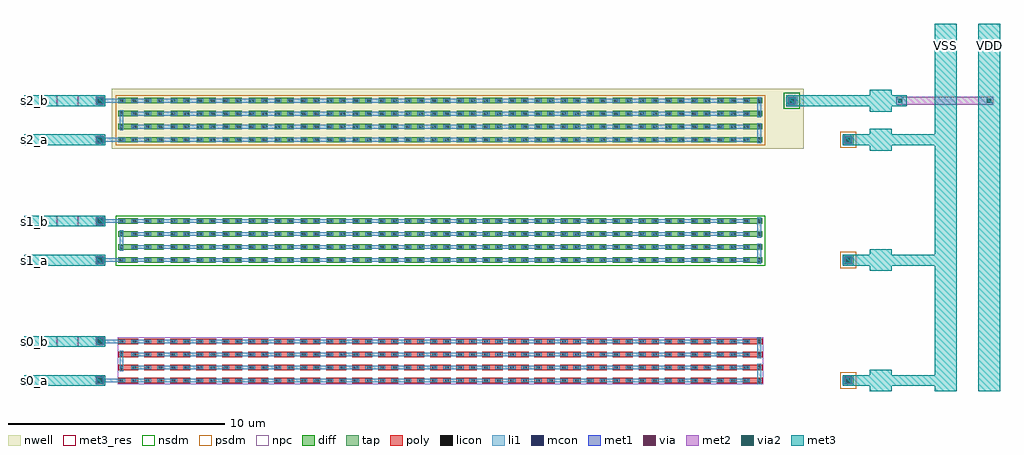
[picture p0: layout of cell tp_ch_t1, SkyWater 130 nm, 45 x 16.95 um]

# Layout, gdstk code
import gdstk
lib = gdstk.Library(unit=1e-6, precision=1e-09)
def R(c, l, rs):  # rectangles x0, y0, x1, y1
    for r in rs: c.add(gdstk.rectangle(r[:2], r[2:], *l))
def A(c, l, x, y, w, h, nx, ny, dx, dy):  # array of equal rectangles
    R(c, l, [(x+i*dx, y+j*dy, x+i*dx+w, y+j*dy+h) for i in range(nx) for j in range(ny)])
nwell = (64, 20)
diff = (65, 20)
tap = (65, 44)
poly = (66, 20)
licon = (66, 44)
li1 = (67, 20)
mcon = (67, 44)
met1 = (68, 20)
via = (68, 44)
met2 = (69, 20)
via2 = (69, 44)
met3_res = (70, 13)
met3 = (70, 20)
nsdm = (93, 44)
psdm = (94, 20)
npc = (95, 20)

tp_ch_poly = lib.new_cell('tp_ch_poly')
R(tp_ch_poly, tap, [(37.75,0.25,38.25,0.75)])
A(tp_ch_poly, poly, 4.335, 0.365, 0.93, 0.27, 25, 4, 1.2, 0.6)
A(tp_ch_poly, licon, 4.415, 0.415, 0.17, 0.17, 50, 4, 0.6, 0.6)
R(tp_ch_poly, licon, [(37.915,0.415,38.085,0.585)])
A(tp_ch_poly, li1, 4.935, 0.415, 0.93, 0.17, 24, 4, 1.2, 0.6)
R(tp_ch_poly, li1, [(37.825,0.325,38.175,0.675), (33.815,0.335,33.985,1.265), (3.375,0.375,3.625,0.625), (37.875,0.375,38.125,0.625), (3.5,0.415,4.665,0.585), (4.415,0.935,4.585,1.865), (33.815,1.535,33.985,2.465), (3.375,2.175,3.625,2.425), (3.5,2.215,4.665,2.385)])
R(tp_ch_poly, mcon, [(3.415,0.415,3.585,0.585), (37.915,0.415,38.085,0.585), (3.415,2.215,3.585,2.385)])
R(tp_ch_poly, met1, [(3.34,0.34,3.66,0.66), (37.84,0.34,38.16,0.66), (3.35,0.35,3.65,0.65), (37.85,0.35,38.15,0.65), (3.34,2.14,3.66,2.46), (3.35,2.15,3.65,2.45)])
R(tp_ch_poly, via, [(3.425,0.425,3.575,0.575), (37.925,0.425,38.075,0.575), (3.425,2.225,3.575,2.375)])
R(tp_ch_poly, met2, [(3.315,0.315,3.685,0.685), (37.815,0.315,38.185,0.685), (3.34,0.34,3.66,0.66), (37.84,0.34,38.16,0.66), (3.315,2.115,3.685,2.485), (3.34,2.14,3.66,2.46)])
R(tp_ch_poly, via2, [(3.4,0.4,3.6,0.6), (37.9,0.4,38.1,0.6), (3.4,2.2,3.6,2.4)])
R(tp_ch_poly, met3_res, [(1.5,2.05,2.5,2.55)])
R(tp_ch_poly, met3, [(39,0,40,1), (0,0.25,3.75,0.75), (0,0.25,1,0.75), (3.25,0.25,3.75,0.75), (37.75,0.25,38.25,0.75), (37.75,0.25,39,0.75), (0,2.05,3.75,2.55), (0,2.05,1,2.55), (3.25,2.05,3.75,2.55)])
R(tp_ch_poly, psdm, [(37.625,0.125,38.375,0.875)])
R(tp_ch_poly, npc, [(4.315,0.315,34.085,2.485)])

tp_ch_ndiff = lib.new_cell('tp_ch_ndiff')
A(tp_ch_ndiff, diff, 4.355, 0.375, 0.89, 0.25, 25, 4, 1.2, 0.6)
R(tp_ch_ndiff, tap, [(37.75,0.25,38.25,0.75)])
A(tp_ch_ndiff, licon, 4.415, 0.415, 0.17, 0.17, 50, 4, 0.6, 0.6)
R(tp_ch_ndiff, licon, [(37.915,0.415,38.085,0.585)])
A(tp_ch_ndiff, li1, 4.935, 0.415, 0.93, 0.17, 24, 4, 1.2, 0.6)
R(tp_ch_ndiff, li1, [(37.825,0.325,38.175,0.675), (33.815,0.335,33.985,1.265), (3.375,0.375,3.625,0.625), (37.875,0.375,38.125,0.625), (3.5,0.415,4.665,0.585), (4.415,0.935,4.585,1.865), (33.815,1.535,33.985,2.465), (3.375,2.175,3.625,2.425), (3.5,2.215,4.665,2.385)])
R(tp_ch_ndiff, mcon, [(3.415,0.415,3.585,0.585), (37.915,0.415,38.085,0.585), (3.415,2.215,3.585,2.385)])
R(tp_ch_ndiff, met1, [(3.34,0.34,3.66,0.66), (37.84,0.34,38.16,0.66), (3.35,0.35,3.65,0.65), (37.85,0.35,38.15,0.65), (3.34,2.14,3.66,2.46), (3.35,2.15,3.65,2.45)])
R(tp_ch_ndiff, via, [(3.425,0.425,3.575,0.575), (37.925,0.425,38.075,0.575), (3.425,2.225,3.575,2.375)])
R(tp_ch_ndiff, met2, [(3.315,0.315,3.685,0.685), (37.815,0.315,38.185,0.685), (3.34,0.34,3.66,0.66), (37.84,0.34,38.16,0.66), (3.315,2.115,3.685,2.485), (3.34,2.14,3.66,2.46)])
R(tp_ch_ndiff, via2, [(3.4,0.4,3.6,0.6), (37.9,0.4,38.1,0.6), (3.4,2.2,3.6,2.4)])
R(tp_ch_ndiff, met3_res, [(1.5,2.05,2.5,2.55)])
R(tp_ch_ndiff, met3, [(39,0,40,1), (0,0.25,3.75,0.75), (0,0.25,1,0.75), (3.25,0.25,3.75,0.75), (37.75,0.25,38.25,0.75), (37.75,0.25,39,0.75), (0,2.05,3.75,2.55), (0,2.05,1,2.55), (3.25,2.05,3.75,2.55)])
R(tp_ch_ndiff, nsdm, [(4.23,0.25,34.17,2.55)])
R(tp_ch_ndiff, psdm, [(37.625,0.125,38.375,0.875)])

tp_ch_pdiff = lib.new_cell('tp_ch_pdiff')
R(tp_ch_pdiff, nwell, [(4.055,0.075,35.95,2.85)])
A(tp_ch_pdiff, diff, 4.355, 0.375, 0.89, 0.25, 25, 4, 1.2, 0.6)
R(tp_ch_pdiff, tap, [(37.75,0.25,38.25,0.75), (35.15,2.05,35.65,2.55)])
A(tp_ch_pdiff, licon, 4.415, 0.415, 0.17, 0.17, 50, 4, 0.6, 0.6)
R(tp_ch_pdiff, licon, [(37.915,0.415,38.085,0.585), (35.315,2.215,35.485,2.385)])
A(tp_ch_pdiff, li1, 4.935, 0.415, 0.93, 0.17, 24, 4, 1.2, 0.6)
R(tp_ch_pdiff, li1, [(37.825,0.325,38.175,0.675), (33.815,0.335,33.985,1.265), (3.375,0.375,3.625,0.625), (37.875,0.375,38.125,0.625), (3.5,0.415,4.665,0.585), (4.415,0.935,4.585,1.865), (33.815,1.535,33.985,2.465), (35.225,2.125,35.575,2.475), (3.375,2.175,3.625,2.425), (35.275,2.175,35.525,2.425), (3.5,2.215,4.665,2.385)])
R(tp_ch_pdiff, mcon, [(3.415,0.415,3.585,0.585), (37.915,0.415,38.085,0.585), (3.415,2.215,3.585,2.385), (35.315,2.215,35.485,2.385)])
R(tp_ch_pdiff, met1, [(3.34,0.34,3.66,0.66), (37.84,0.34,38.16,0.66), (3.35,0.35,3.65,0.65), (37.85,0.35,38.15,0.65), (3.34,2.14,3.66,2.46), (35.24,2.14,35.56,2.46), (3.35,2.15,3.65,2.45), (35.25,2.15,35.55,2.45)])
R(tp_ch_pdiff, via, [(3.425,0.425,3.575,0.575), (37.925,0.425,38.075,0.575), (3.425,2.225,3.575,2.375), (35.325,2.225,35.475,2.375)])
R(tp_ch_pdiff, met2, [(3.315,0.315,3.685,0.685), (37.815,0.315,38.185,0.685), (3.34,0.34,3.66,0.66), (37.84,0.34,38.16,0.66), (3.315,2.115,3.685,2.485), (35.215,2.115,35.585,2.485), (3.34,2.14,3.66,2.46), (35.24,2.14,35.56,2.46)])
R(tp_ch_pdiff, via2, [(3.4,0.4,3.6,0.6), (37.9,0.4,38.1,0.6), (3.4,2.2,3.6,2.4), (35.3,2.2,35.5,2.4)])
R(tp_ch_pdiff, met3_res, [(1.5,2.05,2.5,2.55)])
R(tp_ch_pdiff, met3, [(39,0,40,1), (0,0.25,3.75,0.75), (0,0.25,1,0.75), (3.25,0.25,3.75,0.75), (37.75,0.25,38.25,0.75), (37.75,0.25,39,0.75), (39,1.8,40,2.8), (0,2.05,3.75,2.55), (0,2.05,1,2.55), (3.25,2.05,3.75,2.55), (35.15,2.05,35.65,2.55), (35.15,2.05,39,2.55)])
R(tp_ch_pdiff, nsdm, [(35.025,1.925,35.775,2.675)])
R(tp_ch_pdiff, psdm, [(37.625,0.125,38.375,0.875), (4.23,0.25,34.17,2.55)])

tp_ch_t1 = lib.new_cell('tp_ch_t1')
R(tp_ch_t1, met2, [(40.215,13.215,44.685,13.585)])
R(tp_ch_t1, via2, [(40.3,13.3,40.5,13.5), (44.4,13.3,44.6,13.5)])
A(tp_ch_t1, met3, 40, 0.25, 3, 0.5, 1, 3, 0, 5.55)
R(tp_ch_t1, met3, [(42,0,43,16.95), (44,0,45,16.95), (39.4,13.15,40.7,13.65)])
tp_ch_t1.add(gdstk.Reference(tp_ch_poly, (0,0)))
tp_ch_t1.add(gdstk.Reference(tp_ch_ndiff, (0,5.55)))
tp_ch_t1.add(gdstk.Reference(tp_ch_pdiff, (0,11.1)))
tp_ch_t1.add(gdstk.Label('s0_a', (0.5,0.5), layer=70, texttype=5))
tp_ch_t1.add(gdstk.Label('s0_b', (0.5,2.3), layer=70, texttype=5))
tp_ch_t1.add(gdstk.Label('s1_a', (0.5,6.05), layer=70, texttype=5))
tp_ch_t1.add(gdstk.Label('s1_b', (0.5,7.85), layer=70, texttype=5))
tp_ch_t1.add(gdstk.Label('s2_a', (0.5,11.6), layer=70, texttype=5))
tp_ch_t1.add(gdstk.Label('s2_b', (0.5,13.4), layer=70, texttype=5))
tp_ch_t1.add(gdstk.Label('VDD', (44.5,15.95), layer=70, texttype=5))
tp_ch_t1.add(gdstk.Label('VSS', (42.5,15.95), layer=70, texttype=5))

lib.write_gds('tp_ch_t1.gds')
